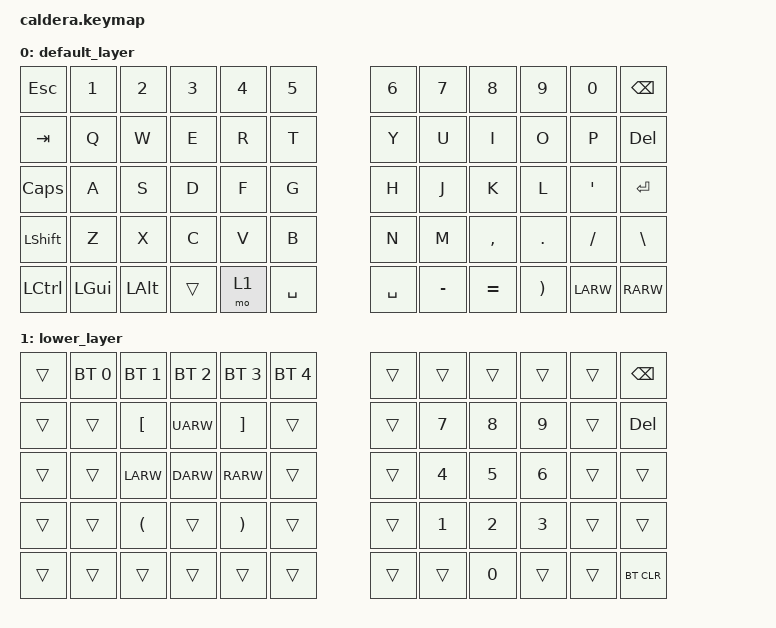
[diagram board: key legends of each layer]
#include <behaviors.dtsi>
#include <dt-bindings/zmk/keys.h>
#include <dt-bindings/zmk/bt.h>

/ {
        keymap {
                compatible = "zmk,keymap";

                default_layer {
// ---------------------------------------------------------------------------------
// | ESC  |  1  |  2  |  3  |  4  |  5  |     |  6  |  7  |  8  |  9  |  0  | BKSP |
// | TAB  |  Q  |  W  |  E  |  R  |  T  |     |  Y  |  U  |  I  |  O  |  P  |  DEL |
// | CAPS |  A  |  S  |  D  |  F  |  G  |     |  H  |  J  |  K  |  L  | APOS|  ENT |
// | SHFT |  Z  |  X  |  C  |  V  |  B  |     |  N  |  M  |  ,  |  .  |  /  |  \   |
// | CTRL | GUI | ALT |     | LOW | SPC |     | SPC |  -  |  =  |  ;  | LARW| RARW |
                        bindings = <
   &kp ESC  &kp N1    &kp N2    &kp N3     &kp N4     &kp N5               &kp N6     &kp N7  &kp N8     &kp N9    &kp N0    &kp BSPC
   &kp TAB    &kp Q     &kp W     &kp E      &kp R      &kp T              &kp Y      &kp U   &kp I      &kp O     &kp P     &kp DEL
   &kp CAPS   &kp A     &kp S     &kp D      &kp F      &kp G              &kp H      &kp J   &kp K      &kp L     &kp APOS  &kp RET
   &kp LSHFT  &kp Z     &kp X     &kp C      &kp V      &kp B              &kp N      &kp M   &kp COMMA  &kp DOT   &kp FSLH  &kp BSLH
   &kp LCTRL  &kp LGUI  &kp LALT  &trans     &mo 1      &kp SPACE          &kp SPACE  &kp MINUS  &kp EQUAL   &kp RPAR  &kp LARW &kp RARW
                        >;
                };
                lower_layer {
// ------------------------------------------------------------------------------------------------------------
// |       |  BT0  |  BT1  |  BT2  |  BT3  |  BT4  |          |       |       |       |       |       |  BKSP |
// |       |       |   [   | LUARW |   ]   |       |          |       |   7   |   8   |   9   |       |  DEL  |
// |       |       |  LARW | LDARW | RARW  |       |          |       |   4   |   5   |   6   |       |       |
// |       |       |   (   |       |   )   |       |          |       |   1   |   2   |   3   |       |       |
// |       |       |       |       |       |       |          |       |       |   0   |       |       | BTCLR |
                        bindings = <
   &trans    &bt BT_SEL 0   &bt BT_SEL 1   &bt BT_SEL 2   &bt BT_SEL 3   &bt BT_SEL 4           &trans    &trans    &trans   &trans   &trans  &kp BSPC
   &trans    &trans         &kp LBKT       &kp UARW       &kp RBKT       &trans                 &trans    &kp N7    &kp N8   &kp N9   &trans  &kp DEL
   &trans    &trans         &kp LARW       &kp DARW       &kp RARW       &trans                 &trans    &kp N4    &kp N5   &kp N6   &trans  &trans
   &trans    &trans         &kp LPAR       &trans         &kp RPAR       &trans                 &trans    &kp N1    &kp N2   &kp N3   &trans  &trans
   &trans    &trans         &trans         &trans         &trans         &trans                 &trans    &trans    &kp N0   &trans   &trans  &bt BT_CLR
                        >;
                };
        };
};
